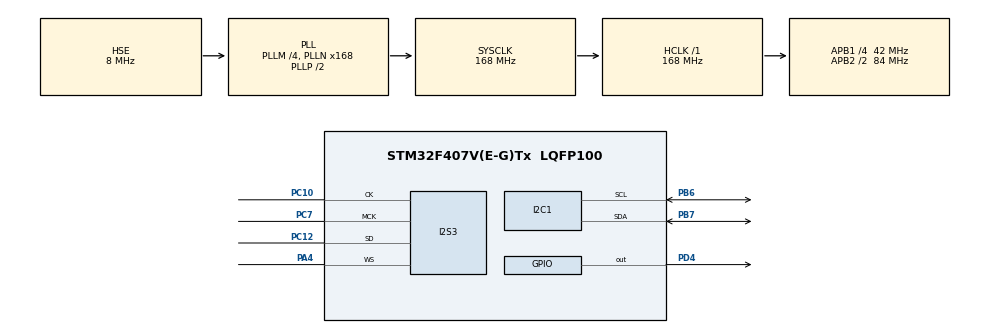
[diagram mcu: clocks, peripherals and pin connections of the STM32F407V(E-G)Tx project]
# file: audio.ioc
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I2S3.AudioFreq=I2S_AUDIOFREQ_48K
I2S3.ErrorAudioFreq=-2.34 %
I2S3.FullDuplexMode=I2S_FULLDUPLEXMODE_DISABLE
I2S3.Instance=SPI$Index
I2S3.RealAudioFreq=46.875 KHz
I2S3.VirtualMode=I2S_MODE_MASTER
Mcu.Family=STM32F4
Mcu.Name=STM32F407V(E-G)Tx
Mcu.Package=LQFP100
NVIC.PriorityGroup=NVIC_PRIORITYGROUP_4
PA4.Mode=Half_Duplex_Master
PA4.Signal=I2S3_WS
PB6.Mode=I2C
PB6.Signal=I2C1_SCL
PB7.Mode=I2C
PB7.Signal=I2C1_SDA
PC10.Mode=Half_Duplex_Master
PC10.Signal=I2S3_CK
PC12.Mode=Half_Duplex_Master
PC12.Signal=I2S3_SD
PC14-OSC32_IN.Mode=LSE-External-Oscillator
PC14-OSC32_IN.Signal=RCC_OSC32_IN
PC15-OSC32_OUT.Mode=LSE-External-Oscillator
PC15-OSC32_OUT.Signal=RCC_OSC32_OUT
PC7.Mode=Master_Clock_Activated
PC7.Signal=I2S3_MCK
PD4.GPIO_PuPd=GPIO_PULLDOWN
PD4.Signal=GPIO_Output
PH0-OSC_IN.Mode=HSE-External-Oscillator
PH0-OSC_IN.Signal=RCC_OSC_IN
PH1-OSC_OUT.Mode=HSE-External-Oscillator
PH1-OSC_OUT.Signal=RCC_OSC_OUT
ProjectManager.HeapSize=0x200
ProjectManager.StackSize=0x400
ProjectManager.TargetToolchain=Makefile
RCC.48MHZClocksFreq_Value=84000000
RCC.AHBFreq_Value=168000000
RCC.APB1CLKDivider=RCC_HCLK_DIV4
RCC.APB1Freq_Value=42000000
RCC.APB1TimFreq_Value=84000000
RCC.APB2CLKDivider=RCC_HCLK_DIV2
RCC.APB2Freq_Value=84000000
RCC.APB2TimFreq_Value=168000000
RCC.CortexFreq_Value=168000000
RCC.HCLKFreq_Value=168000000
RCC.HSE_VALUE=8000000
RCC.HSI_VALUE=16000000
RCC.PLLM=4
RCC.PLLN=168
RCC.PLLSourceVirtual=RCC_PLLSOURCE_HSE
RCC.SYSCLKFreq_VALUE=168000000
RCC.SYSCLKSource=RCC_SYSCLKSOURCE_PLLCLK
RCC.VCOOutputFreq_Value=336000000
board=custom

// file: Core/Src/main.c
/* USER CODE BEGIN Header */
/**
  ******************************************************************************
  * @file           : main.c
  * @brief          : Main program body
  ******************************************************************************
  * @attention
  *
  * Copyright (c) 2021 STMicroelectronics.
  * All rights reserved.
  *
  * This software is licensed under terms that can be found in the LICENSE file
  * in the root directory of this software component.
  * If no LICENSE file comes with this software, it is provided AS-IS.
  *
  ******************************************************************************
  */
/* USER CODE END Header */
#include <stdlib.h>
#include <stdint.h>
#include "main.h"
#include "i2c.h"
#include "i2s.h"
#include "gpio.h"
#include "audio.h"

void SystemClock_Config(void);

/* USER CODE BEGIN 0 */
void configAudio(){
    uint8_t bytes[2];
    init_AudioReset();

    bytes[0] = 0x02;
    bytes[1] = 0x01;
    HAL_I2C_Master_Transmit(&hi2c1, AUDIO_I2C_ADDRESS, bytes, 2, 100);

    bytes[0] = 0x00;
    bytes[1] = 0x99;
    HAL_I2C_Master_Transmit(&hi2c1, AUDIO_I2C_ADDRESS, bytes, 2, 100);

    bytes[0] = 0x47;
    bytes[1] = 0x80;
    HAL_I2C_Master_Transmit(&hi2c1, AUDIO_I2C_ADDRESS, bytes, 2, 100);

    bytes[0] = 0x32;
    bytes[1] = 0x80;
    HAL_I2C_Master_Transmit(&hi2c1, AUDIO_I2C_ADDRESS, bytes, 2, 100);

    bytes[0] = 0x32;
    bytes[1] = 0x0;
    HAL_I2C_Master_Transmit(&hi2c1, AUDIO_I2C_ADDRESS, bytes, 2, 100);

    bytes[0] = 0x04;
    bytes[1] = 0xAF;
    HAL_I2C_Master_Transmit(&hi2c1, AUDIO_I2C_ADDRESS, bytes, 2, 100);

    bytes[0] = 0x0D;
    bytes[1] = 0x70;
    HAL_I2C_Master_Transmit(&hi2c1, AUDIO_I2C_ADDRESS, bytes, 2, 100);

    bytes[0] = 0x05;
    bytes[1] = 0x81;
    HAL_I2C_Master_Transmit(&hi2c1, AUDIO_I2C_ADDRESS, bytes, 2, 100);

    bytes[0] = 0x06;
    bytes[1] = 0x07;
    HAL_I2C_Master_Transmit(&hi2c1, AUDIO_I2C_ADDRESS, bytes, 2, 100);

    bytes[0] = 0x0A;
    bytes[1] = 0x00;
    HAL_I2C_Master_Transmit(&hi2c1, AUDIO_I2C_ADDRESS, bytes, 2, 100);

    bytes[0] = 0x27;
    bytes[1] = 0x00;
    HAL_I2C_Master_Transmit(&hi2c1, AUDIO_I2C_ADDRESS, bytes, 2, 100);

    bytes[0] = 0x1F;
    bytes[1] = 0x0F;
    HAL_I2C_Master_Transmit(&hi2c1, AUDIO_I2C_ADDRESS, bytes, 2, 100);

    bytes[0] = 0x22;
    bytes[1] = 0xC0;
    HAL_I2C_Master_Transmit(&hi2c1, AUDIO_I2C_ADDRESS, bytes, 2, 100);

    bytes[0] = 0x14;
    bytes[1] = 2;
    HAL_I2C_Master_Transmit(&hi2c1, AUDIO_I2C_ADDRESS, bytes, 2, 100);

    bytes[0] = 0x15;
    bytes[1] = 2;
    HAL_I2C_Master_Transmit(&hi2c1, AUDIO_I2C_ADDRESS, bytes, 2, 100);

    bytes[0] = 0x20;
    bytes[1] = 24;
    HAL_I2C_Master_Transmit(&hi2c1, AUDIO_I2C_ADDRESS, bytes, 2, 100);

    bytes[0] = 0x21;
    bytes[1] = 24;
    HAL_I2C_Master_Transmit(&hi2c1, AUDIO_I2C_ADDRESS, bytes, 2, 100);

    bytes[0] = 0x02;
    bytes[1] = 0x9E;
    HAL_I2C_Master_Transmit(&hi2c1, AUDIO_I2C_ADDRESS, bytes, 2, 100);
}

void init_AudioReset(){
    HAL_GPIO_WritePin(GPIOD, AUDIO_RESET_PIN, GPIO_PIN_SET);
}

/* USER CODE END 0 */

int main(void)
{

  /* MCU Configuration--------------------------------------------------------*/

  /* Reset of all peripherals, Initializes the Flash interface and the Systick. */
  HAL_Init();

  /* Configure the system clock */
  SystemClock_Config();

  /* Initialize all configured peripherals */
  MX_GPIO_Init();
  MX_I2C1_Init();
  MX_I2S3_Init();
  /* USER CODE BEGIN 2 */
  configAudio();
  uint16_t signal;
  /* USER CODE END 2 */

  /* Infinite loop */
  /* USER CODE BEGIN WHILE */
  while (1)
  {
    signal = rand();
    HAL_I2S_Transmit(&hi2s3, &signal, 1, 10);
    /* USER CODE END WHILE */

  }
}

void SystemClock_Config(void)
{
  RCC_OscInitTypeDef RCC_OscInitStruct = {0};
  RCC_ClkInitTypeDef RCC_ClkInitStruct = {0};

  /** Configure the main internal regulator output voltage
  */
  __HAL_RCC_PWR_CLK_ENABLE();
  __HAL_PWR_VOLTAGESCALING_CONFIG(PWR_REGULATOR_VOLTAGE_SCALE1);
  /** Initializes the RCC Oscillators according to the specified parameters
  * in the RCC_OscInitTypeDef structure.
  */
  RCC_OscInitStruct.OscillatorType = RCC_OSCILLATORTYPE_HSE;
  RCC_OscInitStruct.HSEState = RCC_HSE_ON;
  RCC_OscInitStruct.PLL.PLLState = RCC_PLL_ON;
  RCC_OscInitStruct.PLL.PLLSource = RCC_PLLSOURCE_HSE;
  RCC_OscInitStruct.PLL.PLLM = 4;
  RCC_OscInitStruct.PLL.PLLN = 168;
  RCC_OscInitStruct.PLL.PLLP = RCC_PLLP_DIV2;
  RCC_OscInitStruct.PLL.PLLQ = 4;
  if (HAL_RCC_OscConfig(&RCC_OscInitStruct) != HAL_OK)
  {
    Error_Handler();
  }
  /** Initializes the CPU, AHB and APB buses clocks
  */
  RCC_ClkInitStruct.ClockType = RCC_CLOCKTYPE_HCLK|RCC_CLOCKTYPE_SYSCLK
                              |RCC_CLOCKTYPE_PCLK1|RCC_CLOCKTYPE_PCLK2;
  RCC_ClkInitStruct.SYSCLKSource = RCC_SYSCLKSOURCE_PLLCLK;
  RCC_ClkInitStruct.AHBCLKDivider = RCC_SYSCLK_DIV1;
  RCC_ClkInitStruct.APB1CLKDivider = RCC_HCLK_DIV4;
  RCC_ClkInitStruct.APB2CLKDivider = RCC_HCLK_DIV2;

  if (HAL_RCC_ClockConfig(&RCC_ClkInitStruct, FLASH_LATENCY_5) != HAL_OK)
  {
    Error_Handler();
  }
}

void Error_Handler(void)
{
  __disable_irq();
  while (1)
  {
  }
}
